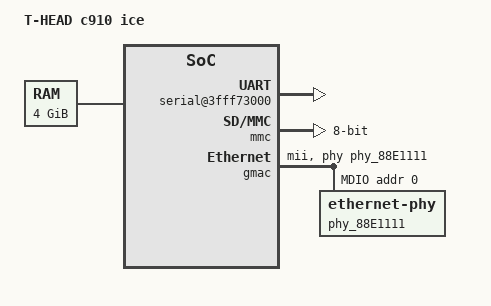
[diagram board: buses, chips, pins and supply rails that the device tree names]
/dts-v1/;
/ {
	model = "T-HEAD c910 ice";
	compatible = "thead,c910_ice";
	#address-cells = <2>;
	#size-cells = <2>;

	memory@0 {
		device_type = "memory";
		reg = <0x0 0x0 0x1 0x0>;
	};

	cpus {
		#address-cells = <1>;
		#size-cells = <0>;
		timebase-frequency = <3000000>;
		cpu@0 {
			device_type = "cpu";
			reg = <0>;
			status = "okay";
			compatible = "riscv";
			riscv,isa = "rv64imafdcvsu";
			mmu-type = "riscv,sv39";
			cpu0_intc: interrupt-controller {
				#interrupt-cells = <1>;
				compatible = "riscv,cpu-intc";
				interrupt-controller;
			};
		};
	};

	soc {
		#address-cells = <2>;
		#size-cells = <2>;
		compatible = "simple-bus";
		ranges;

		intc: interrupt-controller@3f0000000 {
			#interrupt-cells = <1>;
			compatible = "riscv,plic0";
			interrupt-controller;
			interrupts-extended = <
				&cpu0_intc  0xffffffff &cpu0_intc  9
				>;
			reg = <0x3 0xf0000000 0x0 0x04000000>;
			reg-names = "control";
			riscv,max-priority = <7>;
			riscv,ndev = <80>;
		};

		dummy_apb: apb-clock {
			compatible = "fixed-clock";
			clock-frequency = <62500000>;
			clock-output-names = "dummy_apb";
			#clock-cells = <0>;
		};

		serial@3fff73000 {
			compatible = "snps,dw-apb-uart";
			reg = <0x3 0xfff73000 0x0 0x400>;
			interrupt-parent = <&intc>;
			interrupts = <23>;
			clocks = <&dummy_apb>;
			clock-frequency = <62500000>;
			clock-names = "baudclk";
			reg-shift = <2>;
			reg-io-width = <4>;
		};

		mmc: mmc0@3fffb0000 {
			compatible = "snps,dw-mshc";
			reg = <0x3 0xfffb0000 0x0 0x400>;
			bus-width = <8>;
			clocks = <&dummy_apb>, <&dummy_apb>;
			clock-names = "biu", "ciu";
			max-frequency = <25000000>;
		};

		gmac: ethernet@3fffc0000 {
			compatible = "snps,dwmac";
			reg = <0x3 0xfffc0000 0x0 0x2000>;
			interrupt-parent = <&intc>;
			interrupts = <40>;
			interrupt-names = "macirq";
			clocks = <&dummy_apb>;
			clock-names = "stmmaceth";
			snps,pbl = <32>;
			snps,fixed-burst;

			max-speed = <100>;
			phy-mode = "mii";
			phy-handle = <&phy_88E1111>;
			mdio0 {
				#address-cells = <1>;
				#size-cells = <0>;
				compatible = "snps,dwmac-mdio";

				phy_88E1111: ethernet-phy@0 {
					reg = <0x0 0x0>;
				};
			};
		};
	};

	chosen {
		bootargs = "console=ttyS0,115200 crashkernel=256M-:128M";
		linux,initrd-start = <0x0 0x2000000>;
		linux,initrd-end = <0x0 0x0>;
		stdout-path = "/soc/serial@3fff73000:115200";
	};
};
